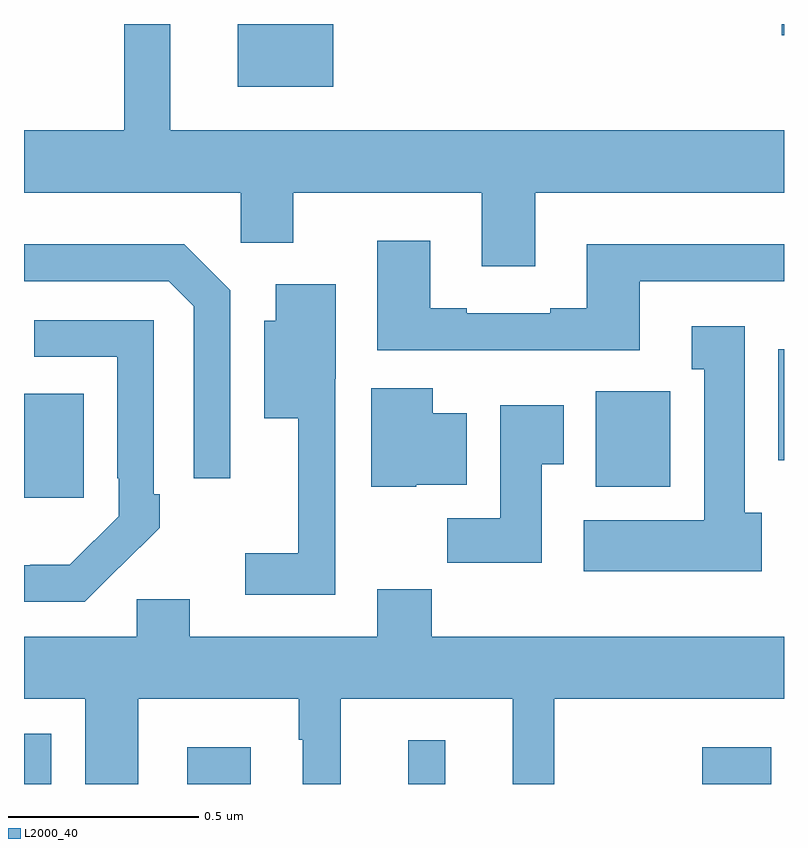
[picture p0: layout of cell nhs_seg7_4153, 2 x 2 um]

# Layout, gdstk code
import gdstk
lib = gdstk.Library(unit=1e-6, precision=1e-09)
def R(c, l, rs):  # rectangles x0, y0, x1, y1
    for r in rs: c.add(gdstk.rectangle(r[:2], r[2:], *l))
def P(c, l, *ps):  # polygons
    for p in ps: c.add(gdstk.Polygon(p, *l))
L2000_40 = (2000, 40)

nhs_seg7_4153 = lib.new_cell('nhs_seg7_4153')
R(nhs_seg7_4153, L2000_40, [(168,1059,168.072,1059.132), (168.429,1059,168.597,1059.097), (169.011,1059,169.108,1059.115), (169.785,1059,169.966,1059.097), (168,1059.753,168.157,1060.027), (169.505,1059.782,169.701,1060.033), (169.985,1059.852,170,1060.144), (168.563,1060.835,168.814,1061), (169.994,1060.971,170,1061)])
P(nhs_seg7_4153, L2000_40, [(169.345,1060.556),(170,1060.556),(170,1060.72),(168.385,1060.72),(168.385,1061),(168.264,1061),(168.264,1060.72),(168,1060.72),(168,1060.556),(168.57,1060.556),(168.57,1060.425),(168.709,1060.425),(168.709,1060.556),(169.205,1060.556),(169.205,1060.362),(169.345,1060.362)],
  [(169.621,1060.323),(170,1060.323),(170,1060.42),(169.481,1060.42),(169.481,1060.252),(169.385,1060.252),(169.385,1060.239),(169.165,1060.239),(169.165,1060.252),(169.069,1060.252),(169.069,1060.429),(168.929,1060.429),(168.929,1060.142),(169.621,1060.142)],
  [(168.543,1060.299),(168.422,1060.42),(168,1060.42),(168,1060.323),(168.381,1060.323),(168.447,1060.257),(168.447,1059.804),(168.543,1059.804)],
  [(168.819,1060.066),(168.82,1060.066),(168.82,1060.315),(168.662,1060.315),(168.662,1060.219),(168.632,1060.219),(168.632,1059.962),(168.722,1059.962),(168.722,1059.607),(168.582,1059.607),(168.582,1059.498),(168.819,1059.498)],
  [(168.251,1059.571),(168.252,1059.57),(168.357,1059.675),(168.357,1059.763),(168.342,1059.763),(168.342,1060.221),(168.027,1060.221),(168.027,1060.125),(168.246,1060.125),(168.246,1059.805),(168.249,1059.805),(168.249,1059.705),(168.121,1059.577),(168.017,1059.577),(168.017,1059.576),(168,1059.576),(168,1059.48),(168.16,1059.48)],
  [(169.942,1059.714),(169.897,1059.714),(169.897,1060.204),(169.757,1060.204),(169.757,1060.091),(169.79,1060.091),(169.79,1059.694),(169.473,1059.694),(169.473,1059.56),(169.942,1059.56)],
  [(169.032,1059.788),(169.165,1059.788),(169.165,1059.976),(169.075,1059.976),(169.075,1060.042),(168.914,1060.042),(168.914,1059.782),(169.032,1059.782)],
  [(169.363,1059.841),(169.42,1059.841),(169.42,1059.997),(169.253,1059.997),(169.253,1059.7),(169.114,1059.7),(169.114,1059.582),(169.363,1059.582)],
  [(168.301,1059.224),(168.723,1059.224),(168.723,1059.117),(168.734,1059.117),(168.734,1059),(168.833,1059),(168.833,1059.224),(169.286,1059.224),(169.286,1059),(169.396,1059),(169.396,1059.224),(170,1059.224),(170,1059.388),(169.073,1059.388),(169.073,1059.512),(168.929,1059.512),(168.929,1059.388),(168.436,1059.388),(168.436,1059.486),(168.297,1059.486),(168.297,1059.388),(168,1059.388),(168,1059.224),(168.161,1059.224),(168.161,1059),(168.301,1059)])

lib.write_gds('nhs_seg7_4153.gds')
